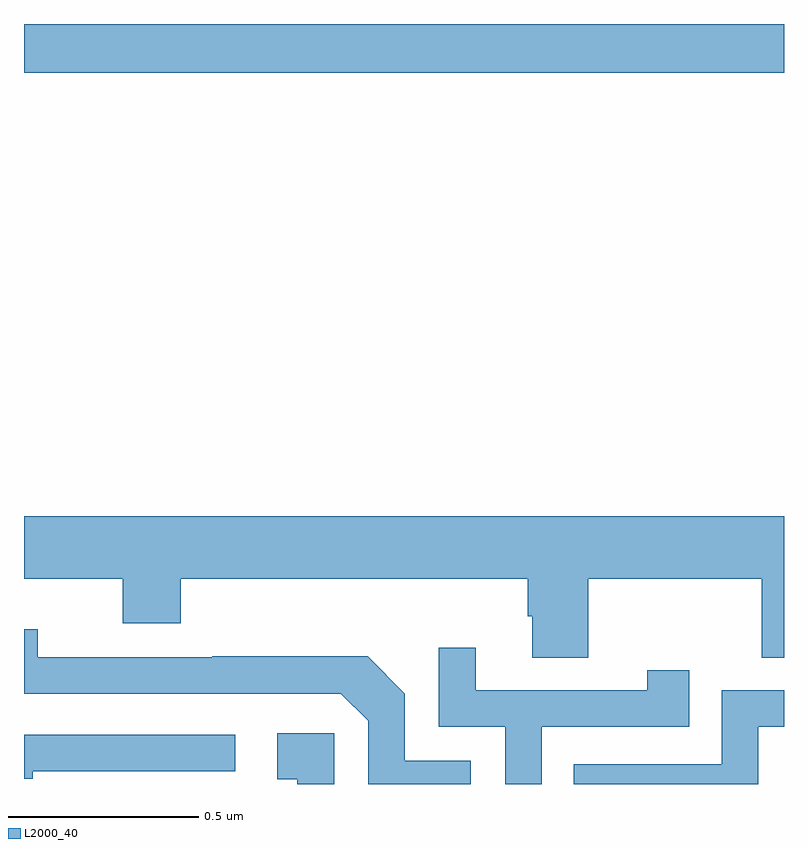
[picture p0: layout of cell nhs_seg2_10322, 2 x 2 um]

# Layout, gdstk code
import gdstk
lib = gdstk.Library(unit=1e-6, precision=1e-09)
def R(c, l, rs):  # rectangles x0, y0, x1, y1
    for r in rs: c.add(gdstk.rectangle(r[:2], r[2:], *l))
def P(c, l, *ps):  # polygons
    for p in ps: c.add(gdstk.Polygon(p, *l))
L2000_40 = (2000, 40)

nhs_seg2_10322 = lib.new_cell('nhs_seg2_10322')
R(nhs_seg2_10322, L2000_40, [(240,611.672,242,611.8)])
P(nhs_seg2_10322, L2000_40, [(241.485,610.34),(241.942,610.34),(241.942,610.132),(242,610.132),(242,610.504),(240,610.504),(240,610.34),(240.26,610.34),(240.26,610.223),(240.413,610.223),(240.413,610.34),(241.325,610.34),(241.325,610.242),(241.337,610.242),(241.337,610.132),(241.485,610.132)],
  [(241.176,609.861),(241.002,609.861),(241.002,610.038),(240.904,610.136),(240.496,610.136),(240.496,610.134),(240.036,610.134),(240.036,610.207),(240,610.207),(240,610.038),(240.834,610.038),(240.906,609.966),(240.906,609.8),(241.176,609.8)],
  [(241.362,609.951),(241.751,609.951),(241.751,610.099),(241.64,610.099),(241.64,610.047),(241.189,610.047),(241.189,610.159),(241.092,610.159),(241.092,609.951),(241.266,609.951),(241.266,609.8),(241.362,609.8)],
  [(241.932,609.951),(242,609.951),(242,610.047),(241.836,610.047),(241.836,609.852),(241.447,609.852),(241.447,609.8),(241.932,609.8)],
  [(240.816,609.934),(240.666,609.934),(240.666,609.813),(240.719,609.813),(240.719,609.8),(240.816,609.8)],
  [(240.023,609.834),(240.556,609.834),(240.556,609.93),(240,609.93),(240,609.814),(240.023,609.814)])

lib.write_gds('nhs_seg2_10322.gds')
